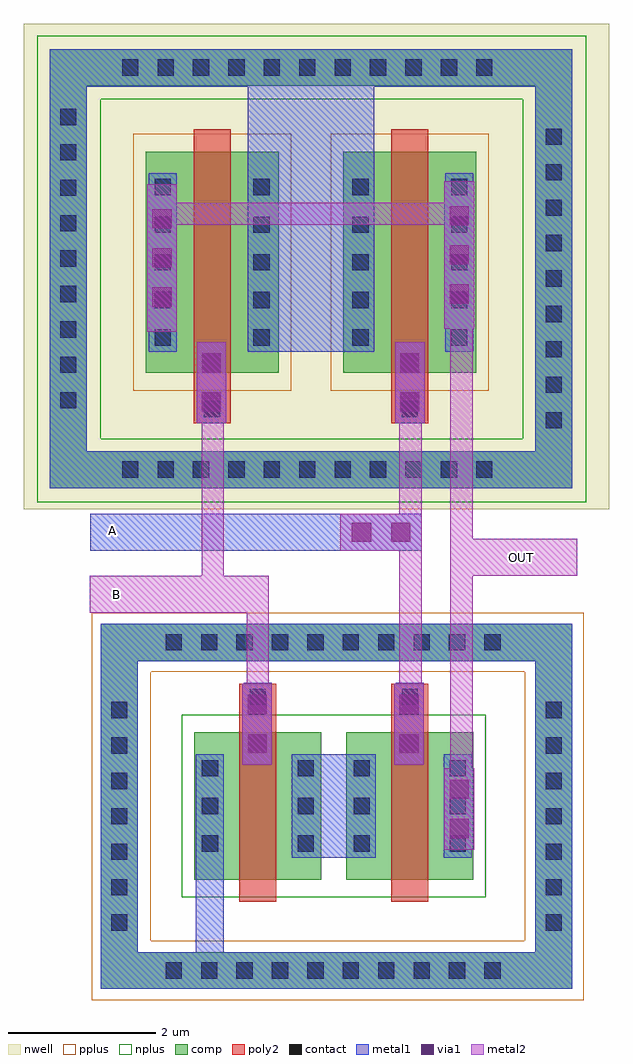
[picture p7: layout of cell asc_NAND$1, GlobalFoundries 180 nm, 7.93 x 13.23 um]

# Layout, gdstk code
from math import pi, radians
import gdstk
lib = gdstk.Library(unit=1e-6, precision=5e-09)
def R(c, l, rs):  # rectangles x0, y0, x1, y1
    for r in rs: c.add(gdstk.rectangle(r[:2], r[2:], *l))
def A(c, l, x, y, w, h, nx, ny, dx, dy):  # array of equal rectangles
    R(c, l, [(x+i*dx, y+j*dy, x+i*dx+w, y+j*dy+h) for i in range(nx) for j in range(ny)])
def P(c, l, *ps):  # polygons
    for p in ps: c.add(gdstk.Polygon(p, *l))
nwell = (21, 0)
comp = (22, 0)
poly2 = (30, 0)
pplus = (31, 0)
nplus = (32, 0)
contact = (33, 0)
metal1 = (34, 0)
via1 = (35, 0)
metal2 = (36, 0)

via_dev_3 = lib.new_cell('via_dev$3')
R(via_dev_3, metal1, [(0,0,0.4,1.1)])
R(via_dev_3, via1, [(0.07,0.155,0.33,0.415), (0.07,0.685,0.33,0.945)])
R(via_dev_3, metal2, [(0,0,0.4,1.1)])

via_dev_4 = lib.new_cell('via_dev$4')
R(via_dev_4, metal1, [(0,0,0.4,2)])
A(via_dev_4, via1, 0.07, 0.34, 0.26, 0.26, 1, 3, 0, 0.53)
R(via_dev_4, metal2, [(0,0,0.4,2)])

via_dev_5 = lib.new_cell('via_dev$5')
R(via_dev_5, comp, [(0,0,0.5,5.5)])
A(via_dev_5, contact, 0.14, 0.24, 0.22, 0.22, 1, 11, 0, 0.48)
R(via_dev_5, metal1, [(0,0,0.5,5.5)])

via_dev_6 = lib.new_cell('via_dev$6')
R(via_dev_6, comp, [(0,0,0.5,4.5)])
A(via_dev_6, contact, 0.14, 0.22, 0.22, 0.22, 1, 9, 0, 0.48)
R(via_dev_6, metal1, [(0,0,0.5,4.5)])

via_dev_7 = lib.new_cell('via_dev$7')
R(via_dev_7, comp, [(0,0,0.5,5)])
A(via_dev_7, contact, 0.14, 0.23, 0.22, 0.22, 1, 10, 0, 0.48)
R(via_dev_7, metal1, [(0,0,0.5,5)])

via_dev_8 = lib.new_cell('via_dev$8')
R(via_dev_8, comp, [(0,0,0.5,3.5)])
A(via_dev_8, contact, 0.14, 0.2, 0.22, 0.22, 1, 7, 0, 0.48)
R(via_dev_8, metal1, [(0,0,0.5,3.5)])

pfet_2 = lib.new_cell('pfet$2')
R(pfet_2, nwell, [(-0.9,-0.44,1.78,3.44)])
R(pfet_2, comp, [(-0.46,0,0,3), (0,0,0.88,3), (0.88,0,1.34,3)])
R(pfet_2, poly2, [(0.19,-0.68,0.69,-0.3), (0.19,-0.3,0.69,3.3)])
R(pfet_2, pplus, [(-0.63,-0.24,1.51,3.24)])
A(pfet_2, contact, -0.34, 0.37, 0.22, 0.22, 1, 5, 0, 0.51)
A(pfet_2, contact, 1, 0.37, 0.22, 0.22, 1, 5, 0, 0.51)
R(pfet_2, contact, [(0.33,-0.6,0.55,-0.38)])
R(pfet_2, metal1, [(0.25,-0.68,0.63,-0.3), (-0.42,0.29,-0.04,2.71), (0.92,0.29,1.3,2.71)])

nfet_2 = lib.new_cell('nfet$2')
R(nfet_2, comp, [(-0.42,0,0,2), (0,0,0.88,2), (0.88,0,1.3,2)])
R(nfet_2, poly2, [(0.19,-0.3,0.69,2.3), (0.19,2.3,0.69,2.66)])
R(nfet_2, nplus, [(-0.59,-0.24,1.47,2.24)])
A(nfet_2, contact, -0.32, 0.38, 0.22, 0.22, 1, 3, 0, 0.51)
A(nfet_2, contact, 0.98, 0.38, 0.22, 0.22, 1, 3, 0, 0.51)
R(nfet_2, contact, [(0.33,2.37,0.55,2.59)])
R(nfet_2, metal1, [(-0.4,0.3,-0.02,1.7), (0.9,0.3,1.28,1.7), (0.25,2.29,0.63,2.67)])

via_dev_9 = lib.new_cell('via_dev$9')
R(via_dev_9, metal1, [(0,0,0.5,1.1)])
R(via_dev_9, via1, [(0.12,0.155,0.38,0.415), (0.12,0.685,0.38,0.945)])
R(via_dev_9, metal2, [(0,0,0.5,1.1)])

asc_nand_1 = lib.new_cell('asc_NAND$1')
R(asc_nand_1, nwell, [(-5.03,5.095,2.9,11.675)])
R(asc_nand_1, comp, [(-3.99,-1.405,-3.49,-0.815), (-3.49,-1.405,-3.34,-0.905), (1.66,-1.405,1.9,-0.905), (1.9,-1.405,2.4,-0.815), (-3.99,2.685,-3.49,3.045), (1.9,2.685,2.4,3.545), (-3.99,3.045,-3.34,3.545), (1.66,3.045,2.4,3.545), (-4.68,5.385,-4.18,6.245), (-4.68,5.385,-3.94,5.885), (1.56,5.385,1.9,5.885), (1.9,5.385,2.4,5.975), (1.9,10.475,2.4,11.335), (-4.68,10.745,-4.18,11.335), (-4.18,10.835,-3.94,11.335), (1.56,10.835,2.4,11.335)])
P(asc_nand_1, nplus, [(-4.85,10.655),(-4.85,11.515),(2.59,11.515),(2.59,11.245),(2.59,10.655)],
  [(-4.85,5.195),(-4.85,6.055),(2.59,6.055),(2.59,5.785),(2.59,5.195)],
  [(1.73,5.195),(1.73,11.435),(2.59,11.435),(2.59,5.195),(2.45,5.195)],
  [(-4.85,5.195),(-4.85,11.435),(-3.99,11.435),(-3.99,5.195),(-4.13,5.195)])
R(asc_nand_1, metal1, [(-3.99,-1.405,-3.34,-0.905), (-3.99,-1.405,-3.49,-0.815), (-3.99,-1.405,2.4,-0.905), (-3.99,-1.405,-3.49,3.045), (1.66,-1.405,2.4,-0.905), (1.9,-1.405,2.4,3.545), (1.9,-1.395,2.4,-0.815), (-1.4,0.375,-0.26,1.775), (-3.99,2.685,-3.49,3.045), (1.9,2.685,2.4,3.535), (-3.99,3.035,2.4,3.545), (-3.99,3.045,-3.34,3.545), (1.61,3.045,2.4,3.545), (-4.68,5.385,-3.94,5.885), (1.56,5.385,2.4,5.885), (-4.68,5.395,-4.18,6.245), (1.9,5.395,2.4,5.975), (-2,7.235,-0.28,11.285), (1.9,10.475,2.4,11.325), (-4.68,10.745,-4.18,11.325), (-4.68,10.825,2.4,11.335), (-4.68,10.835,-3.94,11.335), (1.56,10.835,2.4,11.335)])
P(asc_nand_1, metal1, [(-4.13,4.535),(-4.13,4.825),(-4.13,5.035),(0.36,5.035),(0.36,4.535)],
  [(-2.7,-1.265),(-2.7,1.775),(-2.32,1.775),(-2.32,-1.265),(-2.56,-1.265)])
asc_nand_1.add(gdstk.FlexPath([(0.9,1.475),(0.9,9.105)], 0.3, ends="flush", simple_path=True, layer=36, datatype=0))  # metal2
asc_nand_1.add(gdstk.FlexPath([(-3.15,7.535),(-3.15,9.165)], 0.3, ends="flush", simple_path=True, layer=36, datatype=0))  # metal2
asc_nand_1.add(gdstk.FlexPath([(-3.15,9.105),(1,9.105)], 0.3, ends="flush", simple_path=True, layer=36, datatype=0))  # metal2
asc_nand_1.add(gdstk.FlexPath([(0.9,4.445),(2.47,4.445)], 0.5, ends="flush", simple_path=True, layer=36, datatype=0))  # metal2
asc_nand_1.add(gdstk.FlexPath([(-1.71,3.945),(-4.14,3.945)], 0.5, ends="flush", simple_path=True, layer=36, datatype=0))  # metal2
asc_nand_1.add(gdstk.FlexPath([(0.21,2.445),(0.21,6.505)], 0.3, ends="flush", simple_path=True, layer=36, datatype=0))  # metal2
asc_nand_1.add(gdstk.FlexPath([(-1.86,2.445),(-1.86,3.995)], 0.3, ends="flush", simple_path=True, layer=36, datatype=0))  # metal2
asc_nand_1.add(gdstk.FlexPath([(-2.47,6.525),(-2.47,3.695)], 0.3, ends="flush", simple_path=True, layer=36, datatype=0))  # metal2
asc_nand_1.add(gdstk.FlexPath([(-1.71,3.845),(-2.62,3.845)], 0.3, ends="flush", simple_path=True, layer=36, datatype=0))  # metal2
asc_nand_1.add(gdstk.FlexPath([(2.56,3.295),(-4.11,3.295)], 0.8, ends="flush", simple_path=True, layer=31, datatype=0))  # pplus
asc_nand_1.add(gdstk.FlexPath([(-3.71,3.695),(-3.71,-1.555)], 0.8, ends="flush", simple_path=True, layer=31, datatype=0))  # pplus
asc_nand_1.add(gdstk.FlexPath([(2.56,-1.155),(-4.11,-1.155)], 0.8, ends="flush", simple_path=True, layer=31, datatype=0))  # pplus
asc_nand_1.add(gdstk.FlexPath([(2.16,3.695),(2.16,-1.555)], 0.8, ends="flush", simple_path=True, layer=31, datatype=0))  # pplus
asc_nand_1.add(gdstk.Reference(via_dev_3, (-1.67,1.635), rotation=pi, x_reflection=True))
asc_nand_1.add(gdstk.Reference(via_dev_3, (-2.29,6.265), rotation=pi, x_reflection=True))
asc_nand_1.add(gdstk.Reference(via_dev_3, (0.39,1.635), rotation=pi, x_reflection=True))
asc_nand_1.add(gdstk.Reference(via_dev_3, (0.4,6.265), rotation=pi, x_reflection=True))
asc_nand_1.add(gdstk.Reference(via_dev_4, (-2.96,7.505), rotation=pi, x_reflection=True))
asc_nand_1.add(gdstk.Reference(via_dev_4, (1.07,7.545), rotation=pi, x_reflection=True))
asc_nand_1.add(gdstk.Reference(via_dev_3, (1.07,0.485), rotation=pi, x_reflection=True))
asc_nand_1.add(gdstk.Reference(via_dev_5, (-3.94,10.835), rotation=pi/2, x_reflection=True))
asc_nand_1.add(gdstk.Reference(via_dev_5, (-3.94,5.385), rotation=pi/2, x_reflection=True))
asc_nand_1.add(gdstk.Reference(via_dev_6, (2.4,5.975), rotation=pi, x_reflection=True))
asc_nand_1.add(gdstk.Reference(via_dev_7, (-3.34,3.045), rotation=pi/2, x_reflection=True))
asc_nand_1.add(gdstk.Reference(via_dev_7, (-3.34,-1.405), rotation=pi/2, x_reflection=True))
asc_nand_1.add(gdstk.Reference(via_dev_8, (-3.49,-0.815), rotation=pi, x_reflection=True))
asc_nand_1.add(gdstk.Reference(via_dev_8, (2.4,-0.815), rotation=pi, x_reflection=True))
asc_nand_1.add(gdstk.Reference(pfet_2, (0.64,6.945), rotation=pi, x_reflection=True))
asc_nand_1.add(gdstk.Reference(pfet_2, (-2.04,6.945), rotation=pi, x_reflection=True))
asc_nand_1.add(gdstk.Reference(nfet_2, (-1.42,0.075), rotation=pi, x_reflection=True))
asc_nand_1.add(gdstk.Reference(nfet_2, (0.64,0.075), rotation=pi, x_reflection=True))
asc_nand_1.add(gdstk.Reference(via_dev_9, (0.36,4.535), rotation=pi/2))
asc_nand_1.add(gdstk.Reference(via_dev_6, (-4.68,10.745), x_reflection=True))
asc_nand_1.add(gdstk.Label('A', (-3.83,4.805), layer=34, texttype=10))
asc_nand_1.add(gdstk.Label('OUT', (1.71,4.445), layer=34, texttype=10))
asc_nand_1.add(gdstk.Label('B', (-3.77,3.945), layer=36, texttype=10))

lib.write_gds('asc_NAND_1.gds')
